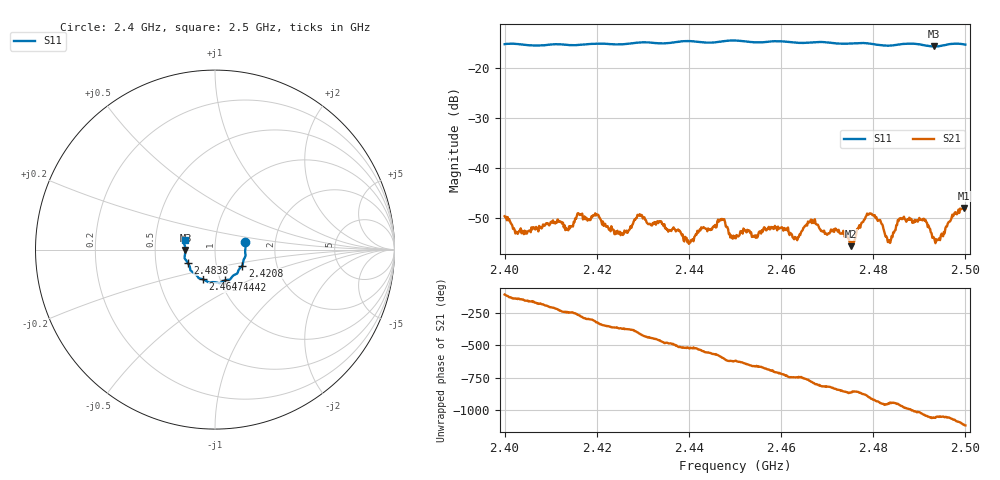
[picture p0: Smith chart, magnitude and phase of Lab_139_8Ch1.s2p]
# Hz S RI R 50
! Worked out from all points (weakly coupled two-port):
!   601 points, 2.4 GHz to 2.5 GHz, reference 50 ohm
!   highest |S21| = -48.01 dB at 2.4997 GHz (marker M1); lowest = -55.6 dB at 2.4752 GHz (marker M2)
!   lowest |S11| = -15.7 dB at 2.4932 GHz (marker M3), VSWR 1.39, Z = 35.8 - j0.132 ohm
!   |S11| at or under -10 dB: start of sweep to end of sweep
!   S12 and S22 are empty: the file has one direction only
!   S11 on the Smith chart (normalised r, x): 2.4 GHz: 1.40, +0.12; 2.4208 GHz: 1.33, -0.24; 2.4442 GHz: 1.05, -0.37; 2.4647 GHz: 0.83, -0.28; 2.4838 GHz: 0.73, -0.11; 2.5 GHz: 0.71, +0.08
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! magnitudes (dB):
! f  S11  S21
! 2.4 GHz  -15.2  -49.6
! 2.4045 GHz  -15.4  -53.1
! 2.4167 GHz  -15.3  -49.4
! 2.4208 GHz  -15.1  -50.3
! 2.4253 GHz  -15.2  -53.0
! 2.4293 GHz  -14.8  -49.2
! 2.4333 GHz  -15.0  -51.0
! 2.4402 GHz  -14.6  -55.0
! 2.4442 GHz  -14.9  -52.1
! 2.4473 GHz  -14.6  -50.3
! 2.45 GHz  -14.5  -53.7
! 2.4647 GHz  -14.9  -52.5
! 2.4667 GHz  -14.8  -51.0
! 2.4752 GHz  -15.1  -55.6
! 2.4792 GHz  -15.1  -49.2
! 2.4833 GHz  -15.5  -54.8
! 2.4838 GHz  -15.5  -54.4
! 2.4862 GHz  -15.2  -50.2
! 2.4912 GHz  -15.4  -50.6
! 2.4932 GHz  -15.7  -53.9
! 2.4997 GHz  -15.2  -48.0
! 2.5 GHz  -15.3  -48.2
